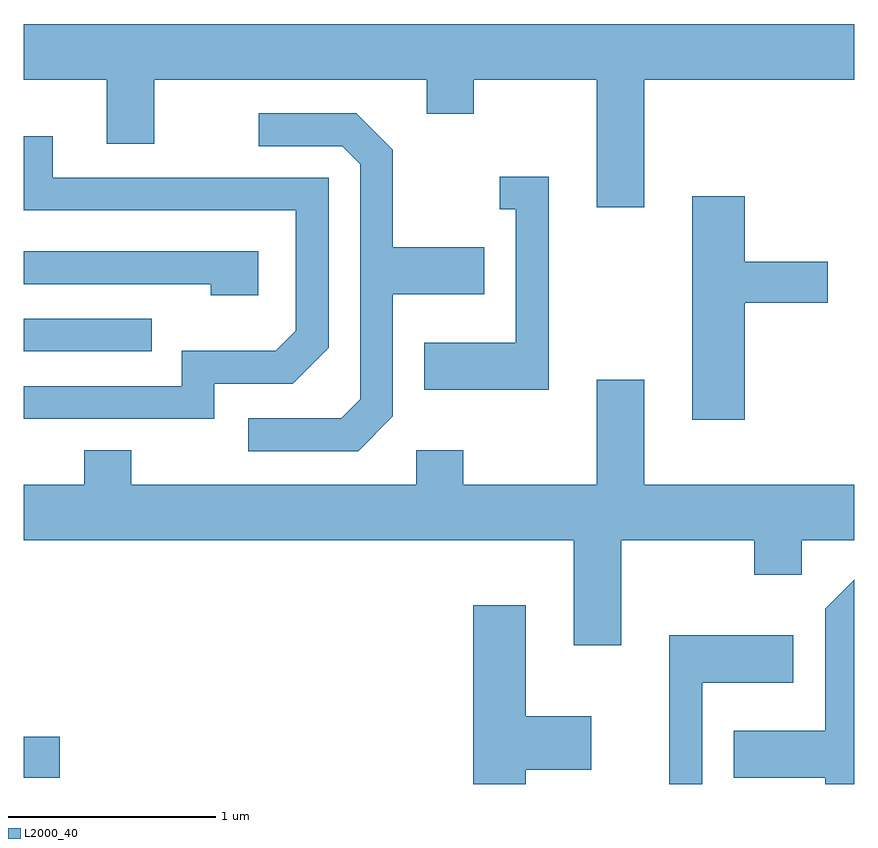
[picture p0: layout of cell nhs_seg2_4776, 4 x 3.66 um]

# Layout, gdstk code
import gdstk
lib = gdstk.Library(unit=1e-6, precision=1e-09)
def R(c, l, rs):  # rectangles x0, y0, x1, y1
    for r in rs: c.add(gdstk.rectangle(r[:2], r[2:], *l))
def P(c, l, *ps):  # polygons
    for p in ps: c.add(gdstk.Polygon(p, *l))
L2000_40 = (2000, 40)

nhs_seg2_4776 = lib.new_cell('nhs_seg2_4776')
R(nhs_seg2_4776, L2000_40, [(325.611,1053.831,325.784,1054.029), (325.611,1055.886,326.228,1056.044)])
P(nhs_seg2_4776, L2000_40, [(328.599,1057.196),(329.611,1057.196),(329.611,1057.464),(325.611,1057.464),(325.611,1057.196),(326.011,1057.196),(326.011,1056.886),(326.239,1056.886),(326.239,1057.196),(327.551,1057.196),(327.551,1057.031),(327.779,1057.031),(327.779,1057.196),(328.371,1057.196),(328.371,1056.581),(328.599,1056.581)],
  [(327.389,1055.574),(327.389,1056.161),(327.829,1056.161),(327.829,1056.389),(327.389,1056.389),(327.389,1056.857),(327.212,1057.034),(326.743,1057.034),(326.743,1056.876),(327.144,1056.876),(327.231,1056.789),(327.231,1055.657),(327.139,1055.564),(326.693,1055.564),(326.693,1055.406),(327.222,1055.406)],
  [(326.529,1055.731),(326.907,1055.731),(327.079,1055.904),(327.079,1056.724),(325.749,1056.724),(325.749,1056.923),(325.611,1056.923),(325.611,1056.566),(326.921,1056.566),(326.921,1055.987),(326.824,1055.889),(326.371,1055.889),(326.371,1055.719),(325.611,1055.719),(325.611,1055.561),(326.529,1055.561)],
  [(328.139,1056.729),(327.903,1056.729),(327.903,1056.571),(327.981,1056.571),(327.981,1055.929),(327.541,1055.929),(327.541,1055.701),(328.139,1055.701)],
  [(329.084,1056.121),(329.484,1056.121),(329.484,1056.319),(329.084,1056.319),(329.084,1056.634),(328.831,1056.634),(328.831,1055.556),(329.084,1055.556)],
  [(326.739,1056.369),(325.611,1056.369),(325.611,1056.211),(326.511,1056.211),(326.511,1056.156),(326.739,1056.156)],
  [(328.489,1054.976),(329.131,1054.976),(329.131,1054.811),(329.359,1054.811),(329.359,1054.976),(329.611,1054.976),(329.611,1055.244),(328.599,1055.244),(328.599,1055.749),(328.371,1055.749),(328.371,1055.244),(327.729,1055.244),(327.729,1055.409),(327.501,1055.409),(327.501,1055.244),(326.129,1055.244),(326.129,1055.409),(325.901,1055.409),(325.901,1055.244),(325.611,1055.244),(325.611,1054.976),(328.261,1054.976),(328.261,1054.471),(328.489,1054.471)],
  [(329.611,1054.786),(329.471,1054.647),(329.471,1054.059),(329.031,1054.059),(329.031,1053.831),(329.471,1053.831),(329.471,1053.802),(329.611,1053.802)],
  [(328.029,1053.871),(328.344,1053.871),(328.344,1054.129),(328.029,1054.129),(328.029,1054.664),(327.776,1054.664),(327.776,1053.802),(328.029,1053.802)],
  [(328.879,1054.291),(329.319,1054.291),(329.319,1054.519),(328.721,1054.519),(328.721,1053.802),(328.879,1053.802)])

lib.write_gds('nhs_seg2_4776.gds')
